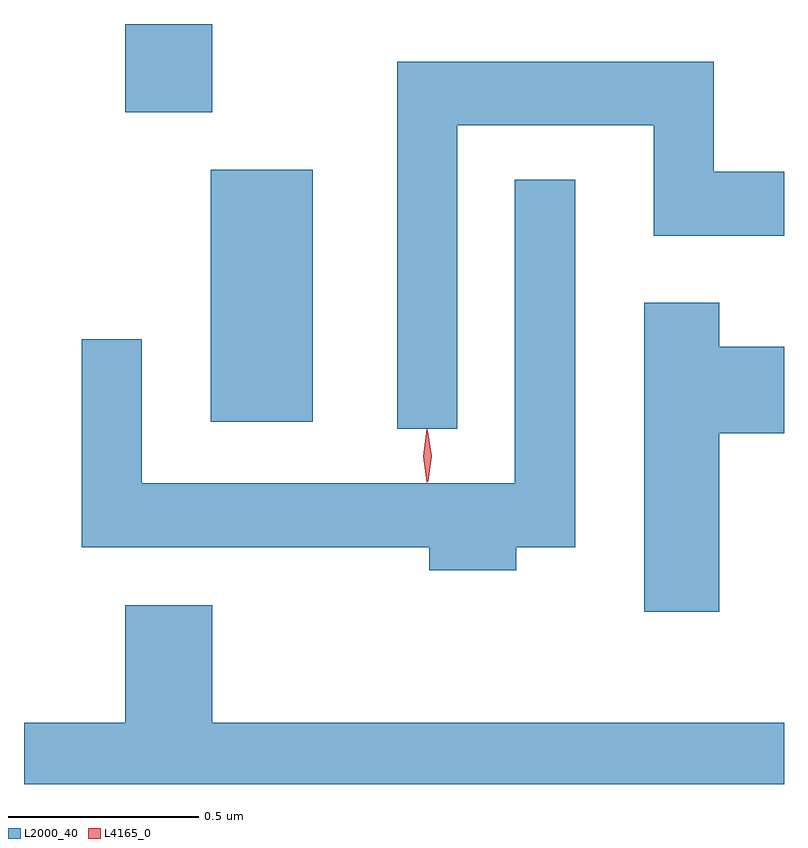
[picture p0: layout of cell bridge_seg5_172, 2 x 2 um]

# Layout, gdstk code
import gdstk
lib = gdstk.Library(unit=1e-6, precision=1e-09)
def R(c, l, rs):  # rectangles x0, y0, x1, y1
    for r in rs: c.add(gdstk.rectangle(r[:2], r[2:], *l))
def P(c, l, *ps):  # polygons
    for p in ps: c.add(gdstk.Polygon(p, *l))
L2000_40 = (2000, 40)
L4165_0 = (4165, 0)

bridge_seg5_172 = lib.new_cell('bridge_seg5_172')
R(bridge_seg5_172, L2000_40, [(1225.366,1415.676,1225.634,1416.339), (1225.141,1416.491,1225.369,1416.723)])
P(bridge_seg5_172, L2000_40, [(1226.014,1416.456),(1226.531,1416.456),(1226.531,1416.166),(1226.874,1416.166),(1226.874,1416.334),(1226.689,1416.334),(1226.689,1416.624),(1225.856,1416.624),(1225.856,1415.658),(1226.014,1415.658)],
  [(1226.169,1415.346),(1226.324,1415.346),(1226.324,1416.313),(1226.166,1416.313),(1226.166,1415.514),(1225.184,1415.514),(1225.184,1415.893),(1225.026,1415.893),(1225.026,1415.346),(1225.941,1415.346),(1225.941,1415.286),(1226.169,1415.286)],
  [(1226.704,1415.646),(1226.874,1415.646),(1226.874,1415.874),(1226.704,1415.874),(1226.704,1415.989),(1226.506,1415.989),(1226.506,1415.176),(1226.704,1415.176)],
  [(1226.874,1414.884),(1225.369,1414.884),(1225.369,1415.194),(1225.141,1415.194),(1225.141,1414.884),(1224.874,1414.884),(1224.874,1414.723),(1226.874,1414.723)])
P(bridge_seg5_172, L4165_0, [(1225.934,1415.517),(1225.925,1415.586),(1225.934,1415.656),(1225.935,1415.656),(1225.935,1415.656),(1225.945,1415.586),(1225.935,1415.517),(1225.935,1415.517)],
  [(1225.937,1415.52),(1225.937,1415.52),(1225.927,1415.586),(1225.936,1415.652),(1225.937,1415.653),(1225.937,1415.652),(1225.947,1415.586),(1225.938,1415.52)])

lib.write_gds('bridge_seg5_172.gds')
